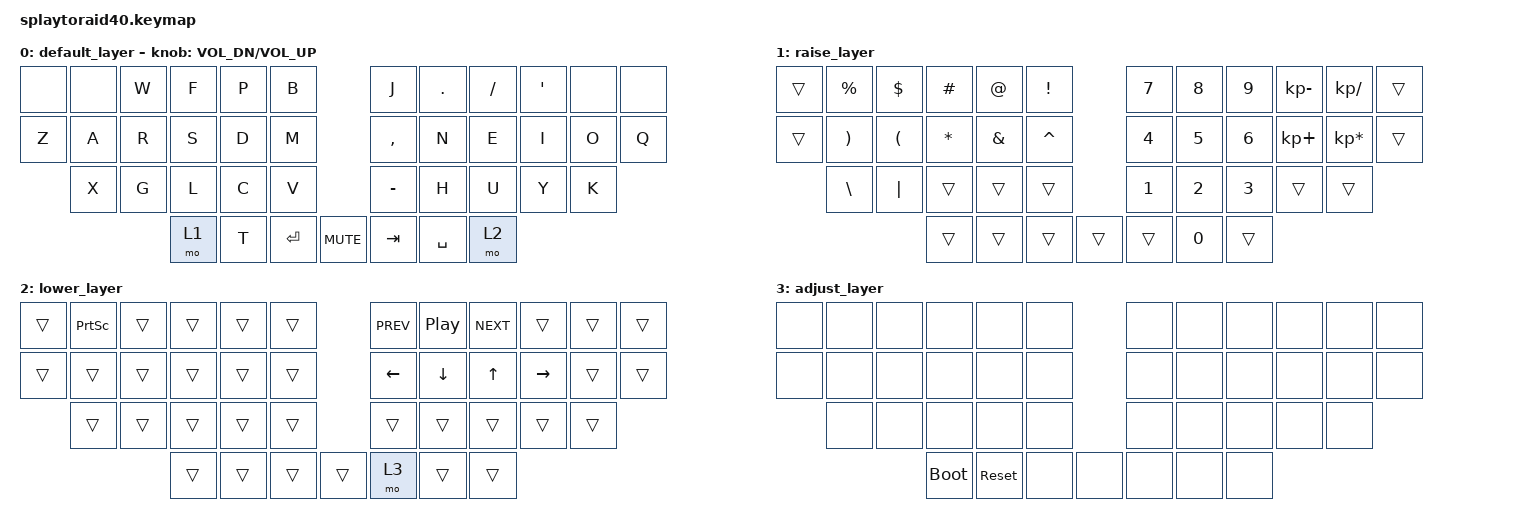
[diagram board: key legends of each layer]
/*
 * Copyright (c) 2021 The ZMK Contributors
 *
 * SPDX-License-Identifier: MIT
 */

#include <behaviors.dtsi>
#include <dt-bindings/zmk/keys.h>
#include <dt-bindings/zmk/bt.h>
#include <dt-bindings/zmk/outputs.h>

&sk {
    quick-release;
};

&caps_word {
    continue-list = <UNDERSCORE MINUS BSPC LSHFT RSHFT>;
};

/ {
    combos {
        compatible = "zmk,combos";
        /*
         0  1  2  3  4  5 ||  6  7  8  9 10 11
        12 13 14 15 16 17 || 18 19 20 21 22 23
           24 25 26 27 28 || 29 30 31 32 33
                 34 35 36 37 38 39 40
        */

        // mods ----------------------------------------------------------
        combo_sk_lctl {
            timeout-ms = <40>;
            key-positions = <25 26>;
            bindings = <&sk LCTRL>;
        };

        combo_sk_lsft {
            timeout-ms = <40>;
            key-positions = <8 9>;
            bindings = <&sk LSHIFT>;
        };

        combo_sk_lalt {
            timeout-ms = <40>;
            key-positions = <31 32>;
            bindings = <&sk LALT>;
        };

        combo_caps_word {
            timeout-ms = <40>;
            key-positions = <16 19>;
            bindings = <&caps_word>;
        };

        // control and whitespace ----------------------------------------
        combo_backspace {
            timeout-ms = <40>;
            key-positions = <19 20>;
            bindings = <&kp BACKSPACE>;
        };

        combo_word_backspace {
            timeout-ms = <40>;
            key-positions = <19 20 21>;
            bindings = <&kp LS(BACKSPACE)>;
        };

        combo_delete {
            timeout-ms = <40>;
            key-positions = <15 16>;
            bindings = <&kp DELETE>;
        };

        combo_escape {
            timeout-ms = <40>;
            key-positions = <13 16>;
            bindings = <&kp ESC>;
        };

        // umlaut and the likes ------------------------------------------
        combo_ae {
            timeout-ms = <40>;
            key-positions = <25 27>;
            bindings = <&kp RA(A)>;
        };

        combo_ue {
            timeout-ms = <40>;
            key-positions = <30 32>;
            bindings = <&kp RA(U)>;
        };

        combo_oe {
            timeout-ms = <40>;
            key-positions = <30 33>;
            bindings = <&kp RA(O)>;
        };

        // symbols -------------------------------------------------------
        combo_lparen {
            timeout-ms= <40>;
            key-positions = <2 16>;
            bindings = <&kp LPAR>;
        };

        combo_rparen {
            timeout-ms = <40>;
            key-positions = <19 9>;
            bindings = <&kp RPAR>;
        };

        combo_lbracket {
            timeout-ms = <35>;
            key-positions = <14 16>;
            bindings = <&kp LBKT>;
        };

        combo_rbracket {
            timeout-ms = <35>;
            key-positions = <19 21>;
            bindings = <&kp RBKT>;
        };

        combo_lbrace {
            timeout-ms = <40>;
            key-positions = <3 16>;
            bindings = <&kp LBRC>;
        };

        combo_rbrace {
            timeout-ms = <40>;
            key-positions = <19 8>;
            bindings = <&kp RBRC>;
        };

        combo_langlebr {
            timeout-ms = <40>;
            key-positions = <25 16>;
            bindings = <&kp LESS_THAN>;
        };

        combo_ranglebr {
            timeout-ms = <40>;
            key-positions = <19 32>;
            bindings = <&kp GREATER_THAN>;
        };

        combo_exclaim {
            timeout-ms = <50>;
            key-positions = <2 3 16>;
            bindings = <&kp EXCL>;
        };

        combo_question {
            timeout-ms = <50>;
            key-positions = <14 15 4>;
            bindings = <&kp QMARK>;
        };

        combo_colon {
            timeout-ms = <40>;
            key-positions = <6 7>;
            bindings = <&kp COLON>;
        };

        combo_semi {
            timeout-ms = <40>;
            key-positions = <30 31>;
            bindings = <&kp SEMI>;
        };

        combo_equal {
            timeout-ms = <40>;
            key-positions = <7 8>;
            bindings = <&kp EQUAL>;
        };

        combo_grave {
            timeout-ms = <40>;
            key-positions = <9 10>;
            bindings = <&kp GRAVE>;
        };

        combo_tilde {
            timeout-ms = <40>;
            key-positions = <32 33>;
            bindings = <&kp TILDE>;
        };

        combo_dquote {
            timeout-ms = <40>;
            key-positions = <7 10>;
            bindings = <&kp DQT>;
        };
    };

    keymap {
        compatible = "zmk,keymap";
        default_layer {
            /* | ××× | ××× | w  | f   | p | b   || j   | . | /   | ' | ××× | ××× |
               | z   | a   | r  | s   | d | m   || ,   | n | e   | i | o   | q   |
                     | x   | g  | l   | c | v   || -   | h | u   | y | k   |
                                | × 1 | t | ret || tab | ␣ | × 2 |                 */
            bindings = <
        &none &none &kp W &kp F &kp P &kp B   /**/       &kp J     &kp DOT   &kp SLASH &kp SQT &none &none
        &kp Z &kp A &kp R &kp S &kp D &kp M   /**/       &kp COMMA &kp N     &kp E     &kp I   &kp O &kp Q
              &kp X &kp G &kp L &kp C &kp V   /**/       &kp MINUS &kp H     &kp U     &kp Y   &kp K
                          &mo 1 &kp T &kp RET &kp C_MUTE &kp TAB   &kp SPACE &mo 2
            >;
            sensor-bindings = <&inc_dec_kp C_VOL_DN C_VOL_UP>;
        };

        raise_layer {
            /* | --- | % | $ | #   | @   | !   || 7   | 8 | 9   | -   | /   | --- |
               | --- | ) | ( | *   | &   | ^   || 4   | 5 | 6   | +   | *   | --- |
                     | \ | | | --- | --- | --- || 1   | 2 | 3   | --- | --- |
                             | --- | --- | --- || --- | 0 | --- |                   */
            bindings = <
        &trans &kp PRCNT &kp DLLR &kp HASH  &kp AT   &kp EXCL  /**/   &kp N7 &kp N8 &kp N9 &kp KP_MINUS &kp KP_SLASH     &trans
        &trans &kp RPAR  &kp LPAR &kp ASTRK &kp AMPS &kp CARET /**/   &kp N4 &kp N5 &kp N6 &kp KP_PLUS  &kp KP_ASTERISK  &trans
               &kp BSLH  &kp PIPE &trans    &trans   &trans    /**/   &kp N1 &kp N2 &kp N3 &trans       &trans
                                  &trans    &trans   &trans    &trans &trans &kp N0 &trans
            >;
        };

        lower_layer {
            /* | --- | print | --- | --- | --- | --- || prev | pause | next | ---   | --- | --- |
               | --- | ---   | --- | --- | --- | --- || left | down  | up   | right | --- | --- |
                     | ---   | --- | --- | --- | --- || ---  | ---   | ---  | ---   | --- |
                                   | --- | --- | --- || × 3  | ---   | ---  |                     */
            bindings = <
        &trans &kp PSCRN &trans &trans &trans &trans /**/   &kp C_PREV &kp C_PP &kp C_NEXT &trans    &trans &trans
        &trans &trans    &trans &trans &trans &trans /**/   &kp LEFT   &kp DOWN &kp UP     &kp RIGHT &trans &trans
               &trans    &trans &trans &trans &trans /**/   &trans     &trans   &trans     &trans    &trans
                                &trans &trans &trans &trans &mo 3      &trans   &trans
            >;
        };

        adjust_layer {
            /* | ××× | ××× | ××× | ×××   | ×××    | ××× || ××× | ××× | ××× | ××× | ××× | ××× |
               | ××× | ××× | ××× | ×××   | ×××    | ××× || ××× | ××× | ××× | ××× | ××× | ××× |
                     | ××× | ××× | ×××   | ×××    | ××× || ××× | ××× | ××× | ××× | ××× |
                                 | reset | reload | ××× || ××× | ××× | ××× |                   */
            bindings = <
        &none &none &none &none       &none      &none /**/  &none &none &none &none &none &none
        &none &none &none &none       &none      &none /**/  &none &none &none &none &none &none
              &none &none &none       &none      &none /**/  &none &none &none &none &none
                          &bootloader &sys_reset &none &none &none &none &none
            >;
        };
    };
};
